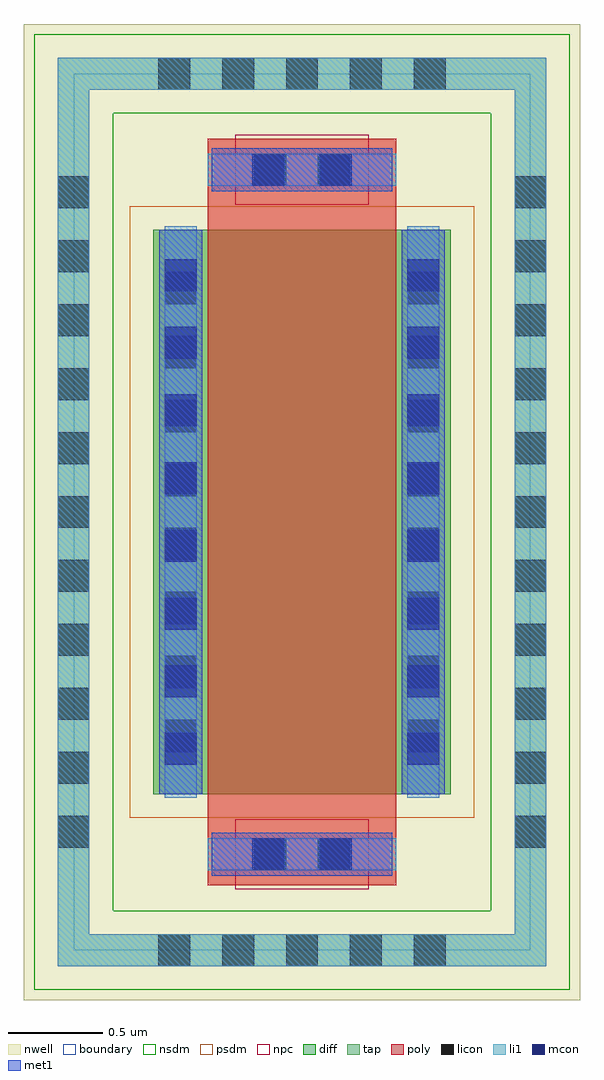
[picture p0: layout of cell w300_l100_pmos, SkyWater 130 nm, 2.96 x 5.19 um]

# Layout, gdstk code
import gdstk
lib = gdstk.Library(unit=1e-6, precision=1e-09)
def R(c, l, rs):  # rectangles x0, y0, x1, y1
    for r in rs: c.add(gdstk.rectangle(r[:2], r[2:], *l))
def A(c, l, x, y, w, h, nx, ny, dx, dy):  # array of equal rectangles
    R(c, l, [(x+i*dx, y+j*dy, x+i*dx+w, y+j*dy+h) for i in range(nx) for j in range(ny)])
nwell = (64, 20)
diff = (65, 20)
tap = (65, 44)
poly = (66, 20)
licon = (66, 44)
li1 = (67, 20)
mcon = (67, 44)
met1 = (68, 20)
nsdm = (93, 44)
psdm = (94, 20)
npc = (95, 20)
boundary = (235, 4)

sky130_fd_pr__pfet_01v8 = lib.new_cell('sky130_fd_pr__pfet_01v8')

w300_l100_pmos = lib.new_cell('w300_l100_pmos')
R(w300_l100_pmos, nwell, [(-1.48,-2.595,1.48,2.595)])
R(w300_l100_pmos, diff, [(-0.79,-1.5,0.79,1.5)])
R(w300_l100_pmos, tap, [(-1.3,-2.415,1.3,-2.245), (-1.3,-2.245,-1.13,2.245), (1.13,-2.245,1.3,2.245), (-1.3,2.245,1.3,2.415)])
R(w300_l100_pmos, poly, [(-0.5,-1.985,0.5,1.985)])
A(w300_l100_pmos, licon, -0.765, -2.415, 0.17, 0.17, 5, 2, 0.34, 4.66)
A(w300_l100_pmos, licon, -1.3, -1.785, 0.17, 0.17, 1, 11, 0, 0.34)
A(w300_l100_pmos, licon, 1.13, -1.785, 0.17, 0.17, 1, 11, 0, 0.34)
A(w300_l100_pmos, licon, -0.73, -1.275, 0.17, 0.17, 1, 8, 0, 0.34)
A(w300_l100_pmos, licon, 0.56, -1.275, 0.17, 0.17, 1, 8, 0, 0.34)
R(w300_l100_pmos, licon, [(-0.255,-1.905,-0.085,-1.735), (0.085,-1.905,0.255,-1.735), (-0.255,1.735,-0.085,1.905), (0.085,1.735,0.255,1.905)])
R(w300_l100_pmos, li1, [(-1.3,-2.415,1.3,-2.245), (-1.3,-2.245,-1.13,2.245), (1.13,-2.245,1.3,2.245), (-0.5,-1.905,0.5,-1.735), (-0.73,-1.52,-0.56,1.52), (0.56,-1.52,0.73,1.52), (-0.5,1.735,0.5,1.905), (-1.3,2.245,1.3,2.415)])
A(w300_l100_pmos, mcon, -0.73, -1.345, 0.17, 0.17, 1, 8, 0, 0.36)
A(w300_l100_pmos, mcon, 0.56, -1.345, 0.17, 0.17, 1, 8, 0, 0.36)
R(w300_l100_pmos, mcon, [(-0.265,-1.905,-0.095,-1.735), (0.095,-1.905,0.265,-1.735), (-0.265,1.735,-0.095,1.905), (0.095,1.735,0.265,1.905)])
R(w300_l100_pmos, met1, [(-0.48,-1.935,0.48,-1.705), (-0.76,-1.5,-0.53,1.5), (0.53,-1.5,0.76,1.5), (-0.48,1.705,0.48,1.935)])
R(w300_l100_pmos, nsdm, [(-1.425,-2.54,1.425,-2.12), (-1.425,-2.12,-1.005,2.12), (1.005,-2.12,1.425,2.12), (-1.425,2.12,1.425,2.54)])
R(w300_l100_pmos, psdm, [(-0.915,-1.625,0.915,1.625)])
R(w300_l100_pmos, npc, [(-0.355,-2.005,0.355,-1.635), (-0.355,1.635,0.355,2.005)])
R(w300_l100_pmos, boundary, [(-1.215,-2.33,1.215,2.33)])
w300_l100_pmos.add(gdstk.Reference(sky130_fd_pr__pfet_01v8, (0,0)))

lib.write_gds('w300_l100_pmos.gds')
